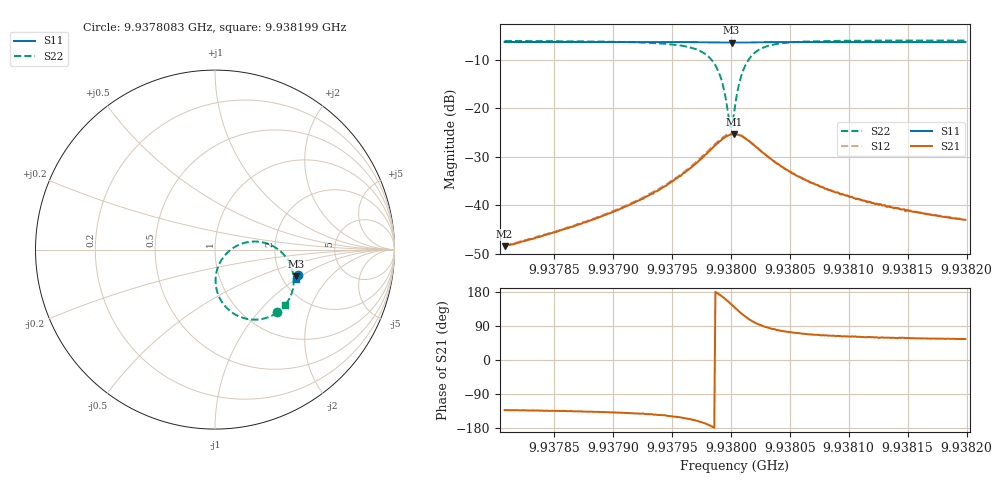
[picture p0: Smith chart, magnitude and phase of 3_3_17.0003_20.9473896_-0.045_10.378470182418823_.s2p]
#  HZ  S  RI  R  50.00
! Rohde & Schwarz Vector Network Analyzer
! Rohde-Schwarz,ZNB20-2Port,1311601062101988,3.16
! Created: UTC 3/20/2024, 10:52:10 PM
! freq[Hz]  re:S11  im:S11  re:S21  im:S21  re:S12  im:S12  re:S22  im:S22
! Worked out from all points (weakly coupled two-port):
!   401 points, 9.9378083 GHz to 9.938199 GHz, reference 50 ohm
!   highest |S21| = -25.34 dB at 9.9380026 GHz (marker M1); lowest = -48.4 dB at 9.9378083 GHz (marker M2)
!   lowest |S11| = -6.5 dB at 9.9380007 GHz (marker M3), VSWR 2.80, Z = 119 - j45.8 ohm
!   |S11| at or under -10 dB: nowhere
!   |S22| runs from -23.9 to -6.0 dB; largest |S21 - S12| = 0.003
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9.93780827e9  0.4606 -0.139  -0.00254 -0.00281  -0.0026 -0.00279  0.3478 -0.3496
9.93787371e9  0.4587 -0.1437  -0.00462 -0.00454  -0.00481 -0.00454  0.3253 -0.3636
9.93791181e9  0.4576 -0.1463  -0.00751 -0.00634  -0.00775 -0.00635  0.2984 -0.3761
9.93793916e9  0.4563 -0.1482  -0.0117 -0.00822  -0.0123 -0.00819  0.2593 -0.3871
9.93796846e9  0.4542 -0.1508  -0.0238 -0.00948  -0.0248 -0.00935  0.1591 -0.3815
9.93798311e9  0.4522 -0.1512  -0.0374 -0.00387  -0.0388 -0.00314  0.0574 -0.3163
9.93798702e9  0.4516 -0.1513  -0.0416 0.000194  -0.0432 0.00173  0.0283 -0.2744
9.93799092e9  0.4507 -0.1506  -0.0453 0.00664  -0.0469 0.0086  0.00773 -0.2166
9.93799483e9  0.4502 -0.1501  -0.0475 0.015  -0.0484 0.0176  0.00514 -0.1442
9.93799874e9  0.45 -0.1492  -0.0466 0.0249  -0.0468 0.0279  0.0305 -0.0668
9.93800069e9  0.4499 -0.1486  -0.0447 0.0298  -0.0443 0.0327  0.0551 -0.0315
9.93800264e9  0.4502 -0.1481  -0.0418 0.0343  -0.041 0.0372  0.0868 -0.00102
9.93800362e9  0.4502 -0.1478  -0.0399 0.0364  -0.039 0.0391  0.1044 0.0112
9.93800655e9  0.4508 -0.1475  -0.0337 0.0412  -0.0322 0.0433  0.1623 0.037
9.93801046e9  0.4517 -0.1471  -0.0245 0.0443  -0.0227 0.0458  0.2397 0.0444
9.93801437e9  0.4528 -0.147  -0.0161 0.0442  -0.0142 0.0449  0.3045 0.0283
9.93802023e9  0.4539 -0.1477  -0.0065 0.0407  -0.00494 0.041  0.3717 -0.0155
9.93803683e9  0.455 -0.1499  0.00432 0.0279  0.00529 0.028  0.4347 -0.131
9.93806906e9  0.4548 -0.1535  0.00643 0.0156  0.00678 0.0155  0.4311 -0.2302
9.93809934e9  0.454 -0.1559  0.00582 0.0111  0.006 0.0109  0.4177 -0.2667
9.93813451e9  0.4529 -0.1586  0.00493 0.00825  0.00514 0.0084  0.4059 -0.2886
9.93819897e9  0.4511 -0.163  0.00403 0.00582  0.00417 0.00576  0.3916 -0.3091
